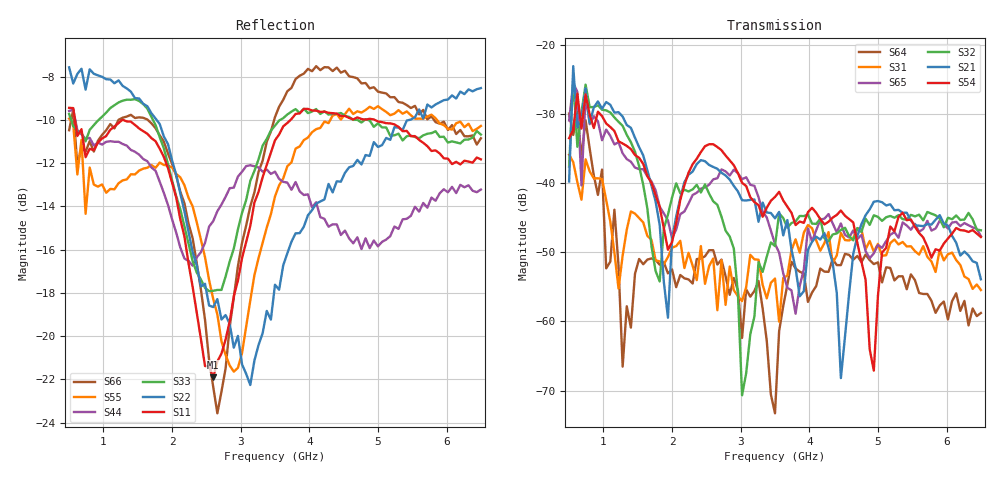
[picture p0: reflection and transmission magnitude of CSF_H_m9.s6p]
!Keysight Technologies,M9804A,MY58100912,A.14.10.03
!Date: Thursday, April 27, 2023 10:28:33
!Correction: S11(C  6-Port  )
!S12(C  6-Port  )
!S13(C  6-Port  )
!S14(C  6-Port  )
!S15(C  6-Port  )
!S16(C  6-Port  )
!S21(C  6-Port  )
!S22(C  6-Port  )
!S23(C  6-Port  )
!S24(C  6-Port  )
!S25(C  6-Port  )
!S26(C  6-Port  )
!S31(C  6-Port  )
!S32(C  6-Port  )
!S33(C  6-Port  )
!S34(C  6-Port  )
!S35(C  6-Port  )
!S36(C  6-Port  )
!S41(C  6-Port  )
!S42(C  6-Port  )
!S43(C  6-Port  )
!S44(C  6-Port  )
!S45(C  6-Port  )
!S46(C  6-Port  )
!S51(C  6-Port  )
!S52(C  6-Port  )
!S53(C  6-Port  )
!S54(C  6-Port  )
!S55(C  6-Port  )
!S56(C  6-Port  )
!S61(C  6-Port  )
!S62(C  6-Port  )
!S63(C  6-Port  )
!S64(C  6-Port  )
!S65(C  6-Port  )
!S66(C  6-Port  )
!S6P File: Measurement: :
# Hz S  RI  R 50
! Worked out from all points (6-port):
!   101 points, 500 MHz to 6.5 GHz, reference 50 ohm
!   strongest paths, dB at 500 MHz, 2 GHz, 3.5 GHz, 5 GHz, 6.5 GHz:
!     S54: -33.5, -48.5, -42.0, -56.3, -47.8
!     S21: -39.8, -48.0, -45.1, -42.6, -53.9
!     S32: -37.6, -42.1, -49.1, -44.9, -46.8
!     S65: -30.9, -48.0, -48.8, -48.9, -47.7
!     S31: -35.9, -49.3, -53.8, -48.8, -55.5
!     S64: -29.9, -52.5, -73.3, -51.5, -58.8
!   lowest |S11| = -21.9 dB at 2.6 GHz (marker M1), VSWR 1.17, Z = 42.8 + j1.87 ohm
!   |S11| at or under -10 dB: 585.6 MHz to 1.275 GHz (689.6 MHz wide, 74.1 % of centre); 1.289 GHz to 3.726 GHz (2.436 GHz wide, 97.2 % of centre); 4.956 GHz to end of sweep
